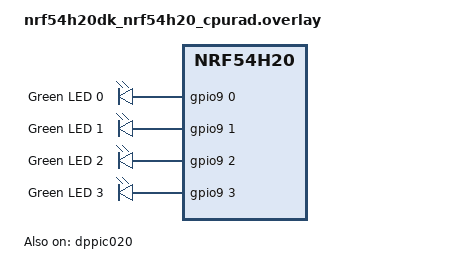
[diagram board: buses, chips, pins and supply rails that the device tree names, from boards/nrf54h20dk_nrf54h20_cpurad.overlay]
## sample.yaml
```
sample:
  name: ESB ptx Sample
common:
  harness: console
  harness_config:
    type: multi_line
    ordered: true
    regex:
      - "Enhanced ShockBurst ptx sample"
      - "Initialization complete"
      - "Sending test packet"
  timeout: 15

tests:
  sample.esb.ptx:
    sysbuild: true
    extra_configs:
      - CONFIG_ESB_LOG_LEVEL_DBG=y
      - CONFIG_LOG_MODE_DEFERRED=y
      - LOG_PROCESS_TRIGGER_THRESHOLD=40
      - LOG_BUFFER_SIZE=10240
    filter: CONFIG_UART_CONSOLE and CONFIG_SERIAL_SUPPORT_INTERRUPT
    integration_platforms:
      - nrf52dk/nrf52832
      - nrf52840dk/nrf52840
      - nrf52dk/nrf52810
    platform_allow:
      - nrf52dk/nrf52832
      - nrf52840dk/nrf52840
      - nrf52dk/nrf52810
    tags:
      - esb
      - samples
      - console
      - sysbuild
      - ci_samples_esb
  sample.esb.ptx.build:
    sysbuild: true
    integration_platforms:
      - nrf21540dk/nrf52840
      - nrf52833dk/nrf52833
      - nrf52840dk/nrf52840
      - nrf52dk/nrf52810
      - nrf52dk/nrf52832
      - nrf5340dk/nrf5340/cpunet
      - nrf54h20dk/nrf54h20/cpurad
      - nrf54l15dk/nrf54l05/cpuapp
      - nrf54l15dk/nrf54l10/cpuapp
      - nrf54l15dk/nrf54l15/cpuapp
      - nrf54lm20dk/nrf54lm20a/cpuapp
      - nrf54lv10dk/nrf54lv10a/cpuapp
    platform_allow:
      - nrf21540dk/nrf52840
      - nrf52833dk/nrf52833
      - nrf52840dk/nrf52840
      - nrf52dk/nrf52810
      - nrf52dk/nrf52832
      - nrf5340dk/nrf5340/cpunet
      - nrf54h20dk/nrf54h20/cpurad
      - nrf54l15dk/nrf54l05/cpuapp
      - nrf54l15dk/nrf54l10/cpuapp
      - nrf54l15dk/nrf54l15/cpuapp
      - nrf54lm20dk/nrf54lm20a/cpuapp
      - nrf54lv10dk/nrf54lv10a/cpuapp
    tags:
      - esb
      - ci_build
      - sysbuild
      - ci_samples_esb
  sample.esb.ptx.dynamic_irq:
    sysbuild: true
    extra_configs:
      - CONFIG_ESB_DYNAMIC_INTERRUPTS=y
      - CONFIG_DYNAMIC_INTERRUPTS=y
      - CONFIG_DYNAMIC_DIRECT_INTERRUPTS=y
      - CONFIG_MPSL_DYNAMIC_INTERRUPTS=y
    integration_platforms:
      - nrf5340dk/nrf5340/cpunet
      - nrf52840dk/nrf52840
      - nrf54l15dk/nrf54l15/cpuapp
      - nrf54h20dk/nrf54h20/cpurad
    platform_allow:
      - nrf5340dk/nrf5340/cpunet
      - nrf52840dk/nrf52840
      - nrf54l15dk/nrf54l15/cpuapp
      - nrf54h20dk/nrf54h20/cpurad
    tags:
      - esb
      - ci_build
      - sysbuild
      - ci_samples_esb
  sample.esb.ptx.nrf5340_nrf21540:
    sysbuild: true
    extra_args: SHIELD=nrf21540ek
    integration_platforms:
      - nrf5340dk/nrf5340/cpunet
    platform_allow:
      - nrf5340dk/nrf5340/cpunet
    tags:
      - esb
      - ci_build
      - sysbuild
      - ci_samples_esb
  sample.esb.ptx.fast_switching:
    sysbuild: true
    extra_configs:
      - CONFIG_ESB_FAST_SWITCHING=y
      - CONFIG_ESB_FAST_CHANNEL_SWITCHING=y
      - CONFIG_ESB_LOG_LEVEL_DBG=y
      - CONFIG_LOG_MODE_DEFERRED=y
      - LOG_PROCESS_TRIGGER_THRESHOLD=40
      - LOG_BUFFER_SIZE=10240
    integration_platforms:
      - nrf54h20dk/nrf54h20/cpurad
    platform_allow:
      - nrf54h20dk/nrf54h20/cpurad
    tags:
      - esb
      - ci_build
      - sysbuild
      - ci_samples_esb
```

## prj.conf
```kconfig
#
# Copyright (c) 2019 Nordic Semiconductor ASA
#
# SPDX-License-Identifier: LicenseRef-Nordic-5-Clause
#
CONFIG_NCS_SAMPLES_DEFAULTS=y
CONFIG_ESB=y
CONFIG_DK_LIBRARY=y
CONFIG_CLOCK_CONTROL=y
CONFIG_PM_DEVICE=n
```

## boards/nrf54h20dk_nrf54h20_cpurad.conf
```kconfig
CONFIG_NRFX_DPPI020=y
CONFIG_NRFX_GPIOTE0=y
```

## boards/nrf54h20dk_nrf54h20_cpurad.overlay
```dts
/*
 * Copyright (c) 2024 Nordic Semiconductor ASA
 *
 * SPDX-License-Identifier: LicenseRef-Nordic-5-Clause
 */

 / {
	leds {
		compatible = "gpio-leds";

		led0: led_0 {
			gpios = < &gpio9 0 GPIO_ACTIVE_HIGH >;
			label = "Green LED 0";
		};

		led1: led_1 {
			gpios = < &gpio9 1 GPIO_ACTIVE_HIGH >;
			label = "Green LED 1";
		};

		led2: led_2 {
			gpios = < &gpio9 2 GPIO_ACTIVE_HIGH >;
			label = "Green LED 2";
		};

		led3: led_3 {
			gpios = < &gpio9 3 GPIO_ACTIVE_HIGH >;
			label = "Green LED 3";
		};
	};

	aliases {
		led0 = &led0;
		led1 = &led1;
		led2 = &led2;
		led3 = &led3;
	};

	cpurad_cpusys_errata216_mboxes: errata216_mboxes {
		compatible = "zephyr,mbox-ipm";
		status = "okay";
		mboxes = < &cpusys_vevif 0x14 >, < &cpusys_vevif 0x15 >;
		mbox-names = "on_req", "off_req";
	};
};

&pinctrl {
	gpiote0_default_alt: gpiote0_default_alt {
		group1 {
			psels = <NRF_PSEL(SPIM_SCK, 1, 5)>;
		};
	};
};

&gpiote0 {
    status = "okay";
	pinctrl-0 = <&gpiote0_default_alt>;
	pinctrl-names = "default";
};

&gpio9 {
	status = "okay";
};

&gpio0 {
	status = "okay";
};

&gpio1 {
	status = "okay";
};

&gpiote130 {
	owned-channels = <0 1 2 3 4 5 6 7>;
	status = "okay";
};

&gpiote0 {
	owned-channels = <0 1 2 3 4 5 6 7>;
	status = "okay";
};

&dppic020 {
	status = "okay";
	source-channels = < 0 1 2 3 4 5 >;
	sink-channels = < 6 7 8 9 10 11 >;
};
```

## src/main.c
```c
/*
 * Copyright (c) 2018 Nordic Semiconductor ASA
 *
 * SPDX-License-Identifier: LicenseRef-Nordic-5-Clause
 */
#include <zephyr/drivers/clock_control.h>
#include <zephyr/drivers/clock_control/nrf_clock_control.h>
#include <zephyr/drivers/gpio.h>
#include <zephyr/irq.h>
#include <zephyr/logging/log.h>
#include <nrf.h>
#include <esb.h>
#include <zephyr/device.h>
#include <zephyr/devicetree.h>
#include <zephyr/kernel.h>
#include <zephyr/types.h>
#include <zephyr/pm/device_runtime.h>
#include <dk_buttons_and_leds.h>
#if defined(CONFIG_CLOCK_CONTROL_NRF2)
#include <hal/nrf_lrcconf.h>
#endif
#include <nrf_erratas.h>
#if NRF54L_ERRATA_20_PRESENT
#include <hal/nrf_power.h>
#endif /* NRF54L_ERRATA_20_PRESENT */
#if defined(NRF54LM20A_ENGA_XXAA)
#include <hal/nrf_clock.h>
#endif /* defined(NRF54LM20A_ENGA_XXAA) */

LOG_MODULE_REGISTER(esb_ptx, CONFIG_ESB_PTX_APP_LOG_LEVEL);

static bool ready = true;
static struct esb_payload rx_payload;
static struct esb_payload tx_payload = ESB_CREATE_PAYLOAD(0,
	0x01, 0x00, 0x03, 0x04, 0x05, 0x06, 0x07, 0x08);

#define _RADIO_SHORTS_COMMON                                                   \
	(RADIO_SHORTS_READY_START_Msk | RADIO_SHORTS_END_DISABLE_Msk |         \
	 RADIO_SHORTS_ADDRESS_RSSISTART_Msk |                                  \
	 RADIO_SHORTS_DISABLED_RSSISTOP_Msk)

void event_handler(struct esb_evt const *event)
{
	ready = true;

	switch (event->evt_id) {
	case ESB_EVENT_TX_SUCCESS:
		LOG_DBG("TX SUCCESS EVENT");
		break;
	case ESB_EVENT_TX_FAILED:
		LOG_DBG("TX FAILED EVENT");
		break;
	case ESB_EVENT_RX_RECEIVED:
		while (esb_read_rx_payload(&rx_payload) == 0) {
			LOG_DBG("Packet received, len %d : "
				"0x%02x, 0x%02x, 0x%02x, 0x%02x, "
				"0x%02x, 0x%02x, 0x%02x, 0x%02x",
				rx_payload.length, rx_payload.data[0],
				rx_payload.data[1], rx_payload.data[2],
				rx_payload.data[3], rx_payload.data[4],
				rx_payload.data[5], rx_payload.data[6],
				rx_payload.data[7]);
		}
		break;
	}
}

#if defined(CONFIG_CLOCK_CONTROL_NRF)
int clocks_start(void)
{
	int err;
	int res;
	struct onoff_manager *clk_mgr;
	struct onoff_client clk_cli;

	clk_mgr = z_nrf_clock_control_get_onoff(CLOCK_CONTROL_NRF_SUBSYS_HF);
	if (!clk_mgr) {
		LOG_ERR("Unable to get the Clock manager");
		return -ENXIO;
	}

	sys_notify_init_spinwait(&clk_cli.notify);

	err = onoff_request(clk_mgr, &clk_cli);
	if (err < 0) {
		LOG_ERR("Clock request failed: %d", err);
		return err;
	}

	do {
		err = sys_notify_fetch_result(&clk_cli.notify, &res);
		if (!err && res) {
			LOG_ERR("Clock could not be started: %d", res);
			return res;
		}
	} while (err);

#if NRF54L_ERRATA_20_PRESENT
	if (nrf54l_errata_20()) {
		nrf_power_task_trigger(NRF_POWER, NRF_POWER_TASK_CONSTLAT);
	}
#endif /* NRF54L_ERRATA_20_PRESENT */

#if defined(NRF54LM20A_ENGA_XXAA)
	/* MLTPAN-39 */
	nrf_clock_task_trigger(NRF_CLOCK, NRF_CLOCK_TASK_PLLSTART);
#endif

	LOG_DBG("HF clock started");
	return 0;
}

#elif defined(CONFIG_CLOCK_CONTROL_NRF2)

int clocks_start(void)
{
	int err;
	int res;
	const struct device *radio_clk_dev =
		DEVICE_DT_GET_OR_NULL(DT_CLOCKS_CTLR(DT_NODELABEL(radio)));
	struct onoff_client radio_cli;

	/** Keep radio domain powered all the time to reduce latency. */
	nrf_lrcconf_poweron_force_set(NRF_LRCCONF010, NRF_LRCCONF_POWER_DOMAIN_1, true);

	sys_notify_init_spinwait(&radio_cli.notify);

	err = nrf_clock_control_request(radio_clk_dev, NULL, &radio_cli);

	do {
		err = sys_notify_fetch_result(&radio_cli.notify, &res);
		if (!err && res) {
			LOG_ERR("Clock could not be started: %d", res);
			return res;
		}
	} while (err == -EAGAIN);

	nrf_lrcconf_clock_always_run_force_set(NRF_LRCCONF000, 0, true);
	nrf_lrcconf_task_trigger(NRF_LRCCONF000, NRF_LRCCONF_TASK_CLKSTART_0);

	LOG_DBG("HF clock started");
	return 0;
}

#else
BUILD_ASSERT(false, "No Clock Control driver");
#endif /* defined(CONFIG_CLOCK_CONTROL_NRF2) */

int esb_initialize(void)
{
	int err;
	/* These are arbitrary default addresses. In end user products
	 * different addresses should be used for each set of devices.
	 */
	uint8_t base_addr_0[4] = {0xE7, 0xE7, 0xE7, 0xE7};
	uint8_t base_addr_1[4] = {0xC2, 0xC2, 0xC2, 0xC2};
	uint8_t addr_prefix[8] = {0xE7, 0xC2, 0xC3, 0xC4, 0xC5, 0xC6, 0xC7, 0xC8};

	struct esb_config config = ESB_DEFAULT_CONFIG;

	config.protocol = ESB_PROTOCOL_ESB_DPL;
	config.retransmit_delay = 600;
	config.bitrate = ESB_BITRATE_2MBPS;
	config.event_handler = event_handler;
	config.mode = ESB_MODE_PTX;
	config.selective_auto_ack = true;
	if (IS_ENABLED(CONFIG_ESB_FAST_SWITCHING)) {
		config.use_fast_ramp_up = true;
	}

	err = esb_init(&config);

	if (err) {
		return err;
	}

	err = esb_set_base_address_0(base_addr_0);
	if (err) {
		return err;
	}

	err = esb_set_base_address_1(base_addr_1);
	if (err) {
		return err;
	}

	err = esb_set_prefixes(addr_prefix, ARRAY_SIZE(addr_prefix));
	if (err) {
		return err;
	}

	return 0;
}

static void leds_update(uint8_t value)
{
	uint32_t leds_mask =
		(!(value % 8 > 0 && value % 8 <= 4) ? DK_LED1_MSK : 0) |
		(!(value % 8 > 1 && value % 8 <= 5) ? DK_LED2_MSK : 0) |
		(!(value % 8 > 2 && value % 8 <= 6) ? DK_LED3_MSK : 0) |
		(!(value % 8 > 3) ? DK_LED4_MSK : 0);

	dk_set_leds(leds_mask);
}

int main(void)
{
	int err;

	LOG_INF("Enhanced ShockBurst ptx sample");

#if defined(CONFIG_SOC_SERIES_NRF54HX)
	const struct device *dtm_uart = DEVICE_DT_GET_OR_NULL(DT_CHOSEN(zephyr_console));

	if (dtm_uart != NULL) {
		int ret = pm_device_runtime_get(dtm_uart);

		if (ret < 0) {
			printk("Failed to get DTM UART runtime PM: %d\n", ret);
		}
	}
#endif /* defined(CONFIG_SOC_SERIES_NRF54HX) */

	err = clocks_start();
	if (err) {
		return 0;
	}

	err = dk_leds_init();
	if (err) {
		LOG_ERR("LEDs initialization failed, err %d", err);
		return 0;
	}

	err = esb_initialize();
	if (err) {
		LOG_ERR("ESB initialization failed, err %d", err);
		return 0;
	}

	esb_set_rf_channel(30);
	int i = 0;

	LOG_INF("Initialization complete");
	LOG_INF("Sending test packet");

	tx_payload.noack = false;
	while (1) {
		if (ready) {
			ready = false;
			LOG_ERR("STATE %d", NRF_RADIO->STATE);
			esb_flush_tx();
			leds_update(tx_payload.data[1]);

			err = esb_write_payload(&tx_payload);
			if (err) {
				LOG_ERR("Payload write failed, err %d", err);
			}
			tx_payload.data[1]++;
		}
		k_sleep(K_MSEC(100));
		esb_set_rf_channel(i & 1 ? 30 : 20);
		i++;
	}
}
```
